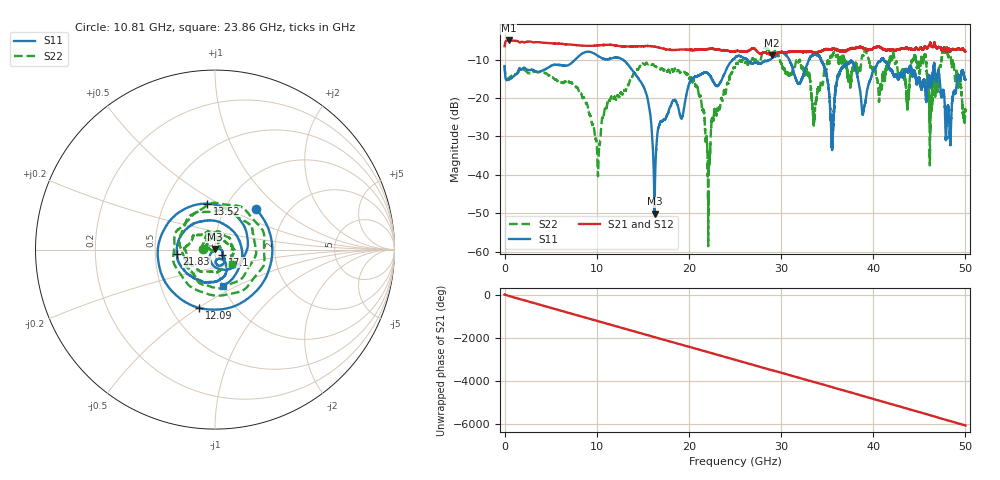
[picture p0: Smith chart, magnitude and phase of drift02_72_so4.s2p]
!Created with skrf (http://scikit-rf.org).
# Hz S RI R 50.0
!freq ReS11 ImS11 ReS21 ImS21 ReS12 ImS12 ReS22 ImS22
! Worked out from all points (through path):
!   10001 points, 300 kHz to 50 GHz, reference 50 ohm
!   highest |S21| = -5.04 dB at 430.3 MHz (marker M1); lowest = -8.9 dB at 28.98 GHz (marker M2)
!   group delay of S21, straight-line fit = 336 ps
!   lowest |S11| = -50.1 dB at 16.27 GHz (marker M3), VSWR 1.01, Z = 49.9 + j0.292 ohm
!   |S11| at or under -10 dB: start of sweep to 7.67 GHz; 12.82 GHz to 24.78 GHz (11.96 GHz wide, 63.6 % of centre); 41.14 GHz to end of sweep (the widest 3 of 8)
!   |S22| runs from -58.5 to -6.7 dB; largest |S21 - S12| = 0.034
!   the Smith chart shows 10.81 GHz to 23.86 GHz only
!   S11 on the Smith chart (normalised r, x): 10.81 GHz: 1.38, +0.70; 12.09 GHz: 0.69, -0.51; 13.52 GHz: 0.81, +0.44; 17.1 GHz: 1.08, -0.06; 21.83 GHz: 0.65, -0.03; 23.86 GHz: 1.01, -0.42
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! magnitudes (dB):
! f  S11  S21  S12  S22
! 300 kHz  -11.7  -6.5  -6.5  -11.6
! 430.3 MHz  -15.2  -5.0  -5.1  -14.9
! 8.335 GHz  -8.6  -6.4  -6.4  -19.1
! 10.11 GHz  -9.0  -6.3  -6.3  -38.6
! 10.81 GHz  -9.8  -6.2  -6.2  -23.7
! 12.09 GHz  -9.4  -6.4  -6.4  -20.4
! 13.52 GHz  -11.7  -6.6  -6.6  -16.0
! 16.27 GHz  -50.1  -6.7  -6.6  -11.7
! 16.67 GHz  -27.8  -6.8  -6.8  -12.1
! 17.1 GHz  -26.0  -7.1  -7.1  -12.3
! 21.83 GHz  -13.4  -7.3  -7.4  -29.9
! 23.86 GHz  -13.7  -7.6  -7.6  -18.2
! 25 GHz  -9.6  -7.8  -7.9  -12.0
! 28.98 GHz  -9.7  -8.9  -8.9  -8.0
! 33.34 GHz  -9.1  -8.0  -8.0  -20.2
! 35.54 GHz  -33.6  -7.3  -7.3  -9.1
! 36.8 GHz  -11.7  -7.8  -7.8  -9.9
! 38.94 GHz  -23.3  -7.1  -7.0  -8.9
! 41.67 GHz  -11.9  -7.4  -7.5  -11.7
! 46.25 GHz  -17.4  -6.1  -6.1  -22.0
! 48.13 GHz  -22.0  -7.1  -7.1  -9.2
! 50 GHz  -15.2  -7.9  -7.9  -22.6
